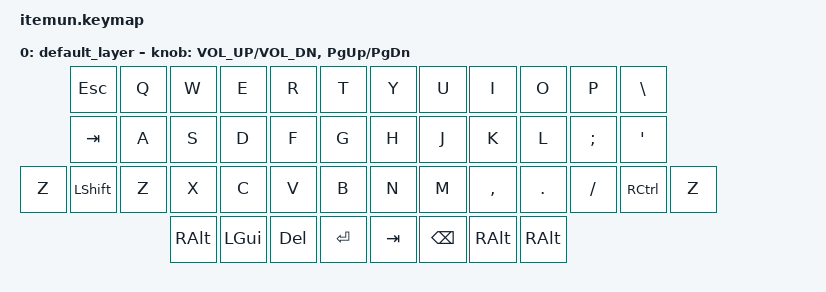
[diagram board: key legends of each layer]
#include <behaviors.dtsi>
#include <dt-bindings/zmk/keys.h>
#include <dt-bindings/zmk/bt.h>


/ {
    keymap {
        compatible = "zmk,keymap";

        default_layer {
// --------------------------------------------------------------------------------------------------------------------------------------------------------------------
// |   ESC   |    Q    |    W    |    E    |    R    |    T    |                                          |    Y    |    U    |    I    |    O    |    P    |    \    |
// |   TAB   |    A    |    S    |    D    |    F    |    G    |                                          |    H    |    J    |    K    |    L    |    ;    |    '    |
// |  SHIFT  |    Z    |    X    |    C    |    V    |    B    | CTRL+A  | CTRL+C  |  |  CTRL+V |  CTRL+X |    N    |    M    |    ,    |    .    |    /    |  R CTRL |
//                               |   GUI   |   DEL   | RETURN  |  SPACE  | ESCAPE  |  |  RETURN |  SPACE  |   TAB   |   BSPC  |  R ALT  |
            bindings = <
        &kp ESC    &kp Q    &kp W    &kp E     &kp R     &kp T       &kp Y     &kp U     &kp I     &kp O     &kp P    &kp BSLH
        &kp TAB    &kp A    &kp S    &kp D     &kp F     &kp G       &kp H     &kp J     &kp K     &kp L     &kp SEMI &kp SQT
&kp Z   &kp LSHIFT &kp Z    &kp X    &kp C     &kp V     &kp B       &kp N     &kp M     &kp COMMA &kp DOT   &kp FSLH &kp RCTRL &kp Z 
                        &kp RALT &kp LGUI  &kp DEL   &kp RET     &kp TAB   &kp BSPC  &kp RALT  &kp RALT
            >;

            sensor-bindings = <&inc_dec_kp C_VOL_UP C_VOL_DN &inc_dec_kp PG_UP PG_DN>;
        };
    };
};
